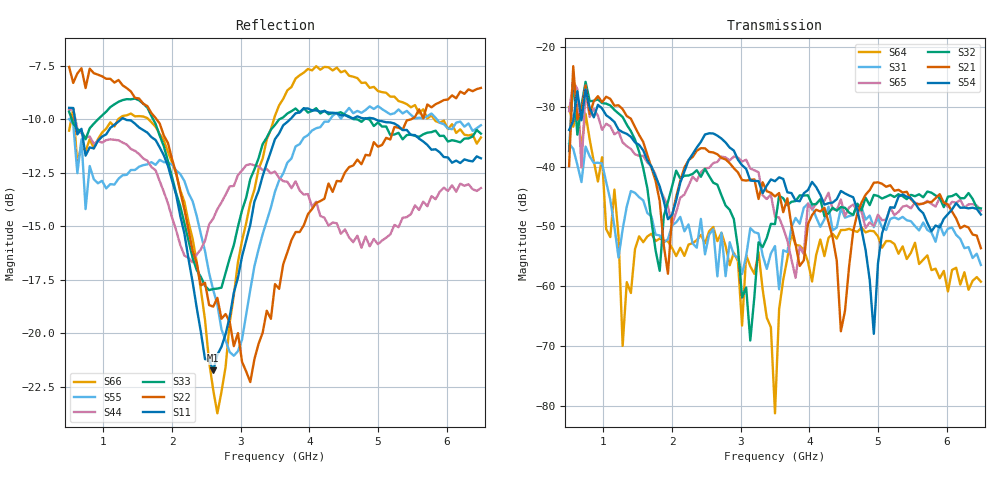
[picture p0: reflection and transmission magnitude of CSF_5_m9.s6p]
!Keysight Technologies,M9804A,MY58100912,A.14.10.03
!Date: Thursday, April 27, 2023 10:28:33
!Correction: S11(C  6-Port  )
!S12(C  6-Port  )
!S13(C  6-Port  )
!S14(C  6-Port  )
!S15(C  6-Port  )
!S16(C  6-Port  )
!S21(C  6-Port  )
!S22(C  6-Port  )
!S23(C  6-Port  )
!S24(C  6-Port  )
!S25(C  6-Port  )
!S26(C  6-Port  )
!S31(C  6-Port  )
!S32(C  6-Port  )
!S33(C  6-Port  )
!S34(C  6-Port  )
!S35(C  6-Port  )
!S36(C  6-Port  )
!S41(C  6-Port  )
!S42(C  6-Port  )
!S43(C  6-Port  )
!S44(C  6-Port  )
!S45(C  6-Port  )
!S46(C  6-Port  )
!S51(C  6-Port  )
!S52(C  6-Port  )
!S53(C  6-Port  )
!S54(C  6-Port  )
!S55(C  6-Port  )
!S56(C  6-Port  )
!S61(C  6-Port  )
!S62(C  6-Port  )
!S63(C  6-Port  )
!S64(C  6-Port  )
!S65(C  6-Port  )
!S66(C  6-Port  )
!S6P File: Measurement: :
# Hz S  RI  R 50
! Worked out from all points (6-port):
!   101 points, 500 MHz to 6.5 GHz, reference 50 ohm
!   strongest paths, dB at 500 MHz, 2 GHz, 3.5 GHz, 5 GHz, 6.5 GHz:
!     S54: -33.8, -48.1, -42.4, -56.3, -48.0
!     S21: -39.9, -48.2, -45.0, -42.6, -53.7
!     S32: -37.4, -43.3, -49.6, -44.9, -47.0
!     S65: -30.7, -49.7, -48.4, -48.1, -47.3
!     S31: -36.2, -49.8, -53.3, -48.6, -56.5
!     S64: -30.0, -53.6, -81.3, -51.7, -59.3
!   lowest |S11| = -21.7 dB at 2.6 GHz (marker M1), VSWR 1.18, Z = 42.7 + j1.98 ohm
!   |S11| at or under -10 dB: 586 MHz to 1.256 GHz (670.5 MHz wide, 72.8 % of centre); 1.321 GHz to 3.718 GHz (2.397 GHz wide, 95.1 % of centre); 4.966 GHz to end of sweep
